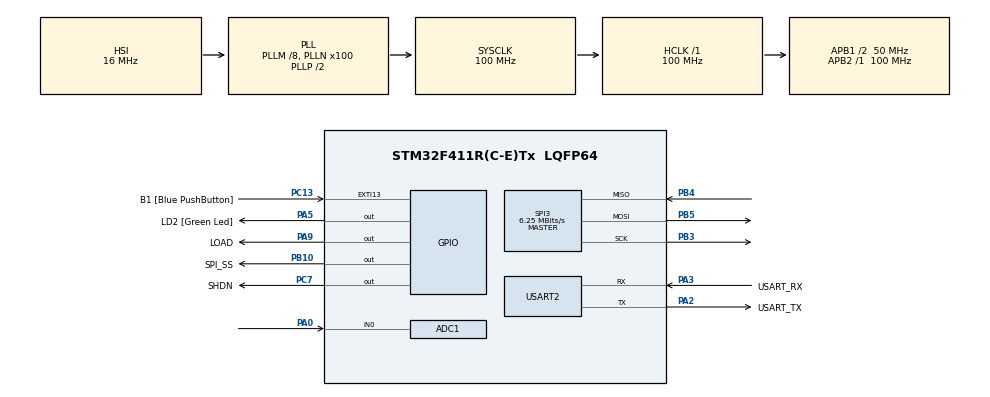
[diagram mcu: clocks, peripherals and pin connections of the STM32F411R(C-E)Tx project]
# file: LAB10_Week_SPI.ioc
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Mcu.Family=STM32F4
PB10.PinState=GPIO_PIN_SET
RCC.CortexFreq_Value=100000000
SPI3.Direction=SPI_DIRECTION_2LINES
SPI3.VirtualType=VM_MASTER
PA14.GPIO_Label=TCK
RCC.SYSCLKSource=RCC_SYSCLKSOURCE_PLLCLK
ProjectManager.StackSize=0x400
NVIC.ADC_IRQn=true\:0\:0\:false\:false\:true\:true\:true
PH0\ -\ OSC_IN.Signal=RCC_OSC_IN
RCC.HCLKFreq_Value=100000000
RCC.APB2TimFreq_Value=100000000
TIM3.Period=100
Dma.ADC1.0.Direction=DMA_PERIPH_TO_MEMORY
PC7.Signal=GPIO_Output
NVIC.DMA2_Stream0_IRQn=true\:0\:0\:false\:false\:true\:false\:true
Dma.ADC1.0.MemDataAlignment=DMA_MDATAALIGN_HALFWORD
RCC.AHBFreq_Value=100000000
SPI3.DataSize=SPI_DATASIZE_16BIT
ADC1.Channel-0\#ChannelRegularConversion=ADC_CHANNEL_0
RCC.HSE_VALUE=8000000
PB3.Mode=Full_Duplex_Master
ADC1.ScanConvMode=ENABLE
PC13-ANTI_TAMP.Signal=GPXTI13
PB4.Mode=Full_Duplex_Master
PC14-OSC32_IN.Mode=LSE-External-Oscillator
PA14.Mode=Serial_Wire
TIM3.Prescaler=99
Dma.ADC1.0.PeriphInc=DMA_PINC_DISABLE
PB5.Mode=Full_Duplex_Master
PC7.PinState=GPIO_PIN_SET
SH.ADCx_IN0.0=ADC1_IN0,IN0
ADC1.SamplingTime-0\#ChannelRegularConversion=ADC_SAMPLETIME_3CYCLES
RCC.FLatency-AdvancedSettings=FLASH_LATENCY_3
Mcu.Package=LQFP64
SPI3.Mode=SPI_MODE_MASTER
USART2.VirtualMode=VM_ASYNC
PA2.GPIO_Label=USART_TX
NVIC.SPI3_IRQn=true\:0\:0\:false\:false\:true\:true\:true
RCC.APB1TimFreq_Value=100000000
Dma.ADC1.0.FIFOMode=DMA_FIFOMODE_DISABLE
Dma.Request0=ADC1
VP_TIM3_VS_ClockSourceINT.Mode=Internal
PB4.Signal=SPI3_MISO
PA3.Signal=USART2_RX
PC15-OSC32_OUT.Mode=LSE-External-Oscillator
Dma.ADC1.0.Instance=DMA2_Stream0
ADC1.Rank-0\#ChannelRegularConversion=1
PC13-ANTI_TAMP.GPIO_Label=B1 [Blue PushButton]
PA9.GPIO_Label=LOAD
PH1\ -\ OSC_OUT.Mode=HSE-External-Clock-Source
TIM11.Prescaler=99
RCC.APB1CLKDivider=RCC_HCLK_DIV2
PC14-OSC32_IN.Signal=RCC_OSC32_IN
NVIC.USART2_IRQn=true\:0\:0\:false\:false\:true\:true\:true
PA0-WKUP.Signal=ADCx_IN0
VP_TIM11_VS_ClockSourceINT.Mode=Enable_Timer
PA13.Signal=SYS_JTMS-SWDIO
PA3.Mode=Asynchronous
Dma.ADC1.0.PeriphDataAlignment=DMA_PDATAALIGN_HALFWORD
PH0\ -\ OSC_IN.Mode=HSE-External-Clock-Source
ProjectManager.TargetToolchain=STM32CubeIDE
PB10.GPIO_Label=SPI_SS
Dma.ADC1.0.Mode=DMA_CIRCULAR
Dma.ADC1.0.Priority=DMA_PRIORITY_LOW
PA9.Signal=GPIO_Output
PA9.PinState=GPIO_PIN_SET
PC15-OSC32_OUT.Signal=RCC_OSC32_OUT
PB10.Signal=GPIO_Output
PA5.Signal=GPIO_Output
PH1\ -\ OSC_OUT.Signal=RCC_OSC_OUT
board=NUCLEO-F411RE
RCC.VCOOutputFreq_Value=200000000
RCC.APB2Freq_Value=100000000
SPI3.CalculateBaudRate=6.25 MBits/s
SPI3.BaudRatePrescaler=SPI_BAUDRATEPRESCALER_8
ADC1.DMAContinuousRequests=ENABLE
PA13.Mode=Serial_Wire
Mcu.Name=STM32F411R(C-E)Tx
PA2.Signal=USART2_TX
PA13.GPIO_Label=TMS
ADC1.ExternalTrigConv=ADC_EXTERNALTRIGCONV_T3_TRGO
PC7.GPIO_Label=SHDN
RCC.48MHZClocksFreq_Value=50000000
PB3.Signal=SPI3_SCK
RCC.SYSCLKFreq_VALUE=100000000
PB5.Signal=SPI3_MOSI
ADC1.master=1
PA5.GPIO_Label=LD2 [Green Led]
PC13-ANTI_TAMP.GPIO_ModeDefaultEXTI=GPIO_MODE_IT_FALLING
PA14.Signal=SYS_JTCK-SWCLK
Dma.ADC1.0.MemInc=DMA_MINC_ENABLE
ProjectManager.HeapSize=0x200
RCC.HSI_VALUE=16000000
NVIC.PriorityGroup=NVIC_PRIORITYGROUP_0
ADC1.NbrOfConversionFlag=1
RCC.PLLM=8
RCC.PLLN=100
PA2.Mode=Asynchronous
TIM3.TIM_MasterOutputTrigger=TIM_TRGO_UPDATE
RCC.APB1Freq_Value=50000000
PA3.GPIO_Label=USART_RX

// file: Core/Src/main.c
/* USER CODE BEGIN Header */
/**
  ******************************************************************************
  * @file           : main.c
  * @brief          : Main program body
  ******************************************************************************
  * @attention
  *
  * <h2><center>&copy; Copyright (c) 2021 STMicroelectronics.
  * All rights reserved.</center></h2>
  *
  * This software component is licensed by ST under BSD 3-Clause license,
  * the "License"; You may not use this file except in compliance with the
  * License. You may obtain a copy of the License at:
  *                        opensource.org/licenses/BSD-3-Clause
  *
  ******************************************************************************
  */
/* USER CODE END Header */
#include "main.h"

/* USER CODE BEGIN Includes */
#include <stdio.h> //printf
#include <string.h> //str lenght
#include <math.h>
/* USER CODE END Includes */

ADC_HandleTypeDef hadc1;
DMA_HandleTypeDef hdma_adc1;

SPI_HandleTypeDef hspi3;

TIM_HandleTypeDef htim3;
TIM_HandleTypeDef htim11;

UART_HandleTypeDef huart2;

/* USER CODE BEGIN PV */

uint16_t ADCin = 0;
uint64_t _micro = 0;

//12bits dac
uint16_t dataOut = 0;
//config 4 bit
uint8_t DACConfig = 0b0011;

//uart
char TxDataBuffer[32] = {0};

char RxDataBuffer[32] = {0};

int16_t inputchar2=0;

uint8_t waveform = 0;
float period   = 100.00;
float freq_saw  = 1.0;
float freq_sine = 1.0;
float freq_sqr  = 1.0;

float  Vmax   = 3.3;
float  Vmin   = 0.001;
float ADCmax_saw = 4096;
float ADCmin_saw = 0.001;

char slope_char[10] ="UP";
uint8_t slope = 1;

//sine wave
float degree = 0.001;
float Amplitude = 3.3;
float ref = 0.0001;
float ADCmax_sin = 4096;
float ADCmin_sin = 0.001;
float  Vmax_sine   = 3.3;
float  Vmin_sine   = 0.001;

//square wave
uint16_t ON_time = 0;
uint16_t Dutycycle = 1;
float ADCmax_sqr = 4096;
float ADCmin_sqr = 0.001;
float  Vmax_sqr = 3.3;
float  Vmin_sqr = 0.001;

uint64_t timestamp = 0;
////////////////////////////////

typedef enum
{
	Main_Menu_Print,
	Main_Menu_Select,
	Menu_1_Print,
	Menu_1_Select,
	Menu_2_Print,
	Menu_2_Select,
	Menu_3_Print,
	Menu_3_Select,

}State_machine;
/* USER CODE END PV */

void SystemClock_Config(void);
static void MX_GPIO_Init(void);
static void MX_DMA_Init(void);
static void MX_USART2_UART_Init(void);
static void MX_ADC1_Init(void);
static void MX_SPI3_Init(void);
static void MX_TIM3_Init(void);
static void MX_TIM11_Init(void);
/* USER CODE BEGIN PFP */
void MCP4922SetOutput(uint8_t Config, uint16_t DACOutput);
uint64_t micros();

//UART
int16_t UARTRecieveIT();

/* USER CODE END PFP */

int main(void)
{

  /* MCU Configuration--------------------------------------------------------*/

  /* Reset of all peripherals, Initializes the Flash interface and the Systick. */
  HAL_Init();

  /* Configure the system clock */
  SystemClock_Config();

  /* Initialize all configured peripherals */
  MX_GPIO_Init();
  MX_DMA_Init();
  MX_USART2_UART_Init();
  MX_ADC1_Init();
  MX_SPI3_Init();
  MX_TIM3_Init();
  MX_TIM11_Init();
  /* USER CODE BEGIN 2 */
  HAL_TIM_Base_Start(&htim3);
  HAL_TIM_Base_Start_IT(&htim11);

  HAL_ADC_Start_DMA(&hadc1, (uint32_t*) &ADCin, 1);
  //  HAL_ADC_Start_IT(&hadc1);

  HAL_GPIO_WritePin(LOAD_GPIO_Port, LOAD_Pin, GPIO_PIN_RESET);

  //UART
//  {
// 	  char temp[] = "HELLO WORLD\r\n please type something to test UART\r\n";
// 	  HAL_UART_Transmit_IT(&huart2,(uint8_t*) temp, strlen(temp));
//  }
  /* USER CODE END 2 */

  /* Infinite loop */
  while (1)
  {
		  //////////////////////////////////////////////////////////////////////////

		  HAL_UART_Receive_IT(&huart2, (uint8_t*)RxDataBuffer, 32);

		  int16_t inputchar = UARTRecieveIT();

		  static State_machine state = Main_Menu_Print;

		  switch(state)
		  {
			  case Main_Menu_Print:
				sprintf(TxDataBuffer, "\n--------------------------\n\r");
				HAL_UART_Transmit(&huart2, (uint8_t*)TxDataBuffer, strlen(TxDataBuffer), 100);

				sprintf(TxDataBuffer, "  Choose Waveform\n\r");
				HAL_UART_Transmit(&huart2, (uint8_t*)TxDataBuffer, strlen(TxDataBuffer), 100);

				sprintf(TxDataBuffer, "--------------------------\n\r");
				HAL_UART_Transmit(&huart2, (uint8_t*)TxDataBuffer, strlen(TxDataBuffer), 100);

				sprintf(TxDataBuffer, "[1] Sawtooth\n\r");
				HAL_UART_Transmit(&huart2, (uint8_t*)TxDataBuffer, strlen(TxDataBuffer), 100);

				sprintf(TxDataBuffer, "[2] Sine Wave\n\r");
				HAL_UART_Transmit(&huart2, (uint8_t*)TxDataBuffer, strlen(TxDataBuffer), 100);

				sprintf(TxDataBuffer, "[3] Square Wave\n\n\r");
				HAL_UART_Transmit(&huart2, (uint8_t*)TxDataBuffer, strlen(TxDataBuffer), 100);

				state = Main_Menu_Select;
				break;

			  case Main_Menu_Select:

				switch(inputchar)
				{
					case -1 :
						break;
					case '1':
						period = (1000000/(freq_saw * (ADCmax_saw - ADCmin_saw)));
						state = Menu_1_Print;
						break;
					case '2':
						Amplitude 	= (ADCmax_sin - ADCmin_sin)/2.0;
						ref  		= (ADCmax_sin + ADCmin_sin)/2.0;
						state = Menu_2_Print;
						break;
					case '3':
						state = Menu_3_Print;
						break;
					case 'x':
//						sprintf(TxDataBuffer, "No More Back\n\r");
//						HAL_UART_Transmit(&huart2, (uint8_t*)TxDataBuffer, strlen(TxDataBuffer), 100);
//						state = Main_Menu_Print;
						break;
					default:
						sprintf(TxDataBuffer, "\nOnly [1][2][3] Key Available\n\r");
						HAL_UART_Transmit(&huart2, (uint8_t*)TxDataBuffer, strlen(TxDataBuffer), 100);
						state = Main_Menu_Print;
						break;
				}
				break;

			case Menu_1_Print:

				sprintf(TxDataBuffer, "\n                   >>> Saw tooth <<<   \n\r");
				HAL_UART_Transmit(&huart2, (uint8_t*)TxDataBuffer, strlen(TxDataBuffer), 100);

				sprintf(TxDataBuffer, " ______________________________________________________________\n\r");
				HAL_UART_Transmit(&huart2, (uint8_t*)TxDataBuffer, strlen(TxDataBuffer), 100);

				sprintf(TxDataBuffer, " V_high    = %.1f  V  | Press[a]-> '+' | Press[d]-> '-' |\n\r", Vmax);
				HAL_UART_Transmit(&huart2, (uint8_t*)TxDataBuffer, strlen(TxDataBuffer), 100);

				sprintf(TxDataBuffer, " V_low     = %.1f  V  | Press[w]-> '+' | Press[s]-> '-' |\n\r", Vmin);
				HAL_UART_Transmit(&huart2, (uint8_t*)TxDataBuffer, strlen(TxDataBuffer), 100);

				sprintf(TxDataBuffer, " Frequency = %.1f Hz  | Press[q]-> '+' | Press[e]-> '-' |\n\r", freq_saw);
				HAL_UART_Transmit(&huart2, (uint8_t*)TxDataBuffer, strlen(TxDataBuffer), 100);

				sprintf(TxDataBuffer, " Slope     = %s      | Press[z]|    \n\r", slope_char);
				HAL_UART_Transmit(&huart2, (uint8_t*)TxDataBuffer, strlen(TxDataBuffer), 300);

				sprintf(TxDataBuffer, " Press -> [x] -> Back              \n\n\r");
				HAL_UART_Transmit(&huart2, (uint8_t*)TxDataBuffer, strlen(TxDataBuffer), 100);

				state = Menu_1_Select;
				break;

			case Menu_1_Select:
				switch(inputchar)
				{
					case -1 :  //not responding
						if(slope == 1)
						{
							if (micros() - timestamp >= period)
							{
									timestamp = micros();

									if(dataOut >= ADCmax_saw) //ADCmax_saw
									{
										dataOut = ADCmin_saw;
									}
									else
									{
										dataOut++;
									}
									if (hspi3.State == HAL_SPI_STATE_READY && HAL_GPIO_ReadPin(SPI_SS_GPIO_Port, SPI_SS_Pin) == GPIO_PIN_SET)
									{
										MCP4922SetOutput(DACConfig, dataOut);
									}
							}
						}
						else if(slope == 0)
						{
							if (micros() - timestamp >= period)
							{
									timestamp = micros();

									if(dataOut <= ADCmin_saw) //ADCmax_saw
									{
										dataOut = ADCmax_saw;
									}
									else
									{
										dataOut--;
									}
									if (hspi3.State == HAL_SPI_STATE_READY && HAL_GPIO_ReadPin(SPI_SS_GPIO_Port, SPI_SS_Pin) == GPIO_PIN_SET)
									{
										MCP4922SetOutput(DACConfig, dataOut);
									}
							}

						}

						break;
					case 'a' : //+Vmax

						Vmax += 0.1;
						if(Vmax > 3.3)
						{
							Vmax = 3.3;
							ADCmax_saw = 4096;
							state = Menu_1_Print;
							break;
						}
						ADCmax_saw += (4096*0.1/3.3);
						period = 1000000/(freq_saw*(ADCmax_saw - ADCmin_saw));

						state = Menu_1_Print;
						break;
					case 'd' : //-Vmax
						Vmax -= 0.1;
						if(Vmax-Vmin < 0.1)
						{
							Vmax  = Vmin + 0.1;
							ADCmax_saw = Vmax*4096/3.3;
							state = Menu_1_Print;
							break;
						}
						ADCmax_saw -= 124.12; //4096*0.1/3.3)
						period = (1000000/(freq_saw*(ADCmax_saw - ADCmin_saw)));
						state = Menu_1_Print;
						break;
					case 'w' : //+Vmin
						Vmin += 0.10;
						if(Vmax - Vmin < 0.1)
						{
							Vmin  = Vmax-0.1;
							ADCmin_saw = Vmin*4096/3.3;
							state = Menu_1_Print;
							break;
						}
						ADCmin_saw += 124.12;
						period = 1000000/(freq_saw*(ADCmax_saw - ADCmin_saw));
						state = Menu_1_Print;
						break;
					case 's' : //-Vmin
						Vmin -= 0.10;
						if(Vmin<0)
						{
							Vmin = 0.0001;
							ADCmin_saw = 0;
							state = Menu_1_Print;
							break;
						}
						ADCmin_saw -= 124.12;
						period = 1000000/(freq_saw*(ADCmax_saw - ADCmin_saw));
						state = Menu_1_Print;
						break;
					case 'q' : //+freq
						freq_saw += 0.1;
						if(freq_saw > 10)
						{
							freq_saw = 10;
						}
						period = 1000000/(freq_saw*(ADCmax_saw - ADCmin_saw));
						state = Menu_1_Print;
						break;
					case 'e' : //-freq
						freq_saw -= 0.1;
						if(freq_saw < 0)
						{
							freq_saw = 0;
						}
						period = 1000000/(freq_saw*(ADCmax_saw - ADCmin_saw));
						state = Menu_1_Print;
						break;
					case 'z' :
						if(slope == 1)
						{

							sprintf(slope_char, "DOWN");
							slope = !slope;
						}
						else
						{
							sprintf(slope_char, "UP");
							slope = !slope;
						}
						state =  Menu_1_Print;
						break;

					case 'x' :
						state = Main_Menu_Print;
						break;

					default:
						sprintf(TxDataBuffer, "\nTry again\n\r");
						HAL_UART_Transmit(&huart2, (uint8_t*)TxDataBuffer, strlen(TxDataBuffer), 100);
						state = Menu_1_Print;
						break;
				}
				break;

			///////////////////////////////////////////////////////////////////////////////////////////////////////////////////
			case Menu_2_Print:

				sprintf(TxDataBuffer, "\n             >>> Sine wave <<<        \n\r");
				HAL_UART_Transmit(&huart2, (uint8_t*)TxDataBuffer, strlen(TxDataBuffer), 50);

				sprintf(TxDataBuffer, " ______________________________________________________________\n\r");
				HAL_UART_Transmit(&huart2, (uint8_t*)TxDataBuffer, strlen(TxDataBuffer), 50);

				sprintf(TxDataBuffer, " V_high    = %.1f  V  | Press[a]-> '+' | Press[d]-> '-' |\n\r", Vmax_sine);
				HAL_UART_Transmit(&huart2, (uint8_t*)TxDataBuffer, strlen(TxDataBuffer), 50);

				sprintf(TxDataBuffer, " V_low     = %.1f  V  | Press[w]-> '+' | Press[s]-> '-' |\n\r", Vmin_sine);
				HAL_UART_Transmit(&huart2, (uint8_t*)TxDataBuffer, strlen(TxDataBuffer), 50);

				sprintf(TxDataBuffer, " Frequency = %.1f Hz  | Press[q]-> '+' | Press[e]-> '-' |\n\r", freq_sine);
				HAL_UART_Transmit(&huart2, (uint8_t*)TxDataBuffer, strlen(TxDataBuffer), 50);

				sprintf(TxDataBuffer, " Press -> [x] -> Back              \n\n\r");
				HAL_UART_Transmit(&huart2, (uint8_t*)TxDataBuffer, strlen(TxDataBuffer), 50);

				state = Menu_2_Select;
				break;
			case Menu_2_Select :
				switch(inputchar)
				{
					case -1 :

						Amplitude 	= (ADCmax_sin - ADCmin_sin)/2.0;
						ref  		= (ADCmax_sin + ADCmin_sin)/2.0;
						period 		= ( 1000000 / (freq_sine));
						if (micros() - timestamp >=  (1000000) / (freq_sine*(6.28/0.01)) )
				        {
								timestamp = micros();

								if(degree >= 2*3.14)  //2*3.14 = 2pi
								{
									degree = 0;
								}
								else
								{
									degree += 0.01;
								}
			     				dataOut = ( sin(degree)*Amplitude ) + ref;

								if (hspi3.State == HAL_SPI_STATE_READY && HAL_GPIO_ReadPin(SPI_SS_GPIO_Port, SPI_SS_Pin) == GPIO_PIN_SET)
								{
									MCP4922SetOutput(DACConfig, dataOut);
								}
				        }
						break;
					case 'a' :
						Vmax_sine += 0.1;
						if(Vmax_sine > 3.3)
						{
							Vmax_sine = 3.3;
							ADCmax_sin = 4096;
							state = Menu_2_Print;
							break;
						}
						ADCmax_sin += (4096*0.1/3.3);
						state = Menu_2_Print;
						break;

					case 'd' : //-Vmax
						Vmax_sine -= 0.1;
						if(Vmax_sine - Vmin_sine < 0.1)
						{
							Vmax_sine  = Vmin_sine + 0.1;
							ADCmax_sin = Vmax_sine*4096/3.3;
							state = Menu_2_Print;
							break;
						}
						ADCmax_sin -= 124.12; //4096*0.1/3.3)
						state = Menu_2_Print;
						break;
					case 'w' : //+Vmin
						Vmin_sine += 0.10;
						if(Vmax_sine - Vmin_sine < 0.1)
						{
							Vmin_sine  = Vmax_sine-0.1;
							ADCmin_sin = Vmin_sine*4096/3.3;
							state = Menu_2_Print;
							break;
						}
						ADCmin_sin += 124.12;
						state = Menu_2_Print;
						break;
					case 's' : //-Vmin
						Vmin_sine -= 0.10;
						if(Vmin_sine<0)
						{
							Vmin_sine = 0.0001;
							ADCmin_sin = 0;
							state = Menu_2_Print;
							break;
						}
						ADCmin_sin -= 124.12;
						state = Menu_2_Print;
						break;
					case 'q' : //+freq
						freq_sine += 0.1;
						if(freq_sine > 10)
						{
							freq_sine = 10;
						}
						state = Menu_2_Print;
						break;
					case 'e' : //-freq
						freq_sine -= 0.1;
						if(freq_sine < 0)
						{
							freq_sine = 0;
						}
						state = Menu_2_Print;
						break;
					case 'x' :
						state = Main_Menu_Print;
						break;
					default:
						sprintf(TxDataBuffer, "\nTry again\n\r");
						HAL_UART_Transmit(&huart2, (uint8_t*)TxDataBuffer, strlen(TxDataBuffer), 100);
						state = Menu_2_Print;
						break;
				}
				break;

			//////////////////////////////////////////////////////////////////////////////////////////////////

				case Menu_3_Print:

					sprintf(TxDataBuffer, "\n             >>> Square wave <<<        \n\r");
					HAL_UART_Transmit(&huart2, (uint8_t*)TxDataBuffer, strlen(TxDataBuffer), 50);

					sprintf(TxDataBuffer, " ______________________________________________________________\n\r");
					HAL_UART_Transmit(&huart2, (uint8_t*)TxDataBuffer, strlen(TxDataBuffer), 50);

					sprintf(TxDataBuffer, " V_high    = %.1f  V  | Press[a]-> '+' | Press[d]-> '-' |\n\r", Vmax_sqr);
					HAL_UART_Transmit(&huart2, (uint8_t*)TxDataBuffer, strlen(TxDataBuffer), 50);

					sprintf(TxDataBuffer, " V_low     = %.1f  V  | Press[w]-> '+' | Press[s]-> '-' |\n\r", Vmin_sqr);
					HAL_UART_Transmit(&huart2, (uint8_t*)TxDataBuffer, strlen(TxDataBuffer), 50);

					sprintf(TxDataBuffer, " Frequency = %.1f Hz  | Press[q]-> '+' | Press[e]-> '-' |\n\r", freq_sqr);
					HAL_UART_Transmit(&huart2, (uint8_t*)TxDataBuffer, strlen(TxDataBuffer), 50);

					sprintf(TxDataBuffer, " Dutycycle = %d /100% | Press[z]-> '+' | Press[c]-> '-' |\n\r",Dutycycle);
					HAL_UART_Transmit(&huart2, (uint8_t*)TxDataBuffer, strlen(TxDataBuffer), 50);

					sprintf(TxDataBuffer, " Press -> [x] -> Back              \n\n\r");
					HAL_UART_Transmit(&huart2, (uint8_t*)TxDataBuffer, strlen(TxDataBuffer), 50);

					state = Menu_3_Select;
					break;
				case Menu_3_Select :
					switch(inputchar)
					{
						case -1 :
							period = 1000000 / freq_sqr;
							if (micros() - timestamp > 1000000 / (freq_sqr*100))
							{
								timestamp = micros();
								if(ON_time >= 100)
								{
									ON_time = 0;
								}
								else
								{
									ON_time++;
								}

								if(ON_time <= Dutycycle)
								{
									dataOut = ADCmax_sqr*0.9999;
								}
								else
								{
									dataOut = ADCmin_sqr*1;
								}

								if (hspi3.State == HAL_SPI_STATE_READY && HAL_GPIO_ReadPin(SPI_SS_GPIO_Port, SPI_SS_Pin) == GPIO_PIN_SET)
								{
									MCP4922SetOutput(DACConfig, dataOut);
								}
							}
							break;
						case 'a' :
							Vmax_sqr += 0.1;
							if(Vmax_sqr > 3.3)
							{
								Vmax_sqr = 3.3;
								ADCmax_sqr = 4096;
								state = Menu_3_Print;
								break;
							}
							ADCmax_sqr += (4096*0.1/3.3);
							state = Menu_3_Print;
							break;

						case 'd' : //-Vmax
							Vmax_sqr -= 0.1;
							if(Vmax_sqr - Vmin_sqr < 0.1)
							{
								Vmax_sqr  = Vmin_sqr + 0.1;
								ADCmax_sqr = Vmax_sqr*4096/3.3;
								state = Menu_3_Print;
								break;
							}
							ADCmax_sqr -= 124.12; //4096*0.1/3.3)
							state = Menu_3_Print;
							break;
						case 'w' : //+Vmin
							Vmin_sqr += 0.10;
							if(Vmax_sqr - Vmin_sqr < 0.1)
							{
								Vmin_sqr  = Vmax_sqr-0.1;
								ADCmin_sqr = Vmin_sqr*4096/3.3;
								state = Menu_3_Print;
								break;
							}
							ADCmin_sqr += 124.12;
							state = Menu_3_Print;
							break;
						case 's' : //-Vmin
							Vmin_sqr -= 0.10;
							if(Vmin_sqr<0)
							{
								Vmin_sqr = 0.0001;
								ADCmin_sqr = 0;
								state = Menu_3_Print;
								break;
							}
							ADCmin_sqr -= 124.12;
							state = Menu_3_Print;
							break;
						case 'q' : //+freq
							freq_sqr += 0.1;
							if(freq_sqr > 10)
							{
								freq_sqr = 10;
							}
							state = Menu_3_Print;
							break;
						case 'e' : //-freq
							freq_sine -= 0.1;
							if(freq_sqr < 0)
							{
								freq_sqr = 0;
							}
							state = Menu_3_Print;
							break;
						case 'z' :
							Dutycycle++;
							if(Dutycycle > 99)
							{
								Dutycycle = 99;
							}
							state = Menu_3_Print;
							break;
						case 'c' :
							Dutycycle--;
							if(Dutycycle < 1)
							{
								Dutycycle = 1;
							}
							state = Menu_3_Print;
							break;
						case 'x' :
							state = Main_Menu_Print;
							break;
						default:
							sprintf(TxDataBuffer, "\nTry again\n\r");
							HAL_UART_Transmit(&huart2, (uint8_t*)TxDataBuffer, strlen(TxDataBuffer), 100);
							state = Menu_3_Print;
							break;
					}
			///////////////////////////
			default:
				break;

		  }
		  ////////////////////////////////////////////////////////////////////////////////////////////////////////////////////////

		  ///////////////////////////////////////////////////////////////////////////////////////////////////////////////////////
    /* USER CODE BEGIN 3 */

//
//	  if(inputchar!=-1)
//	  {
//		sprintf(TxDataBuffer, "ReceivedChar:[%c]\r\n", inputchar);
//		HAL_UART_Transmit(&huart2, (uint8_t*)TxDataBuffer, strlen(TxDataBuffer),50);
//	  }
//
//	  if(inputchar == 'a')
//	  {
//		  char temp[] = "Uuuuuuuuuu\r\n";
//		  HAL_UART_Transmit_IT(&huart2,(uint8_t*) temp, strlen(temp));
//	  }

//
//
//	  static uint64_t timestamp = 0;
//
//	  if (micros() - timestamp >= 1000)
//	  {
//			timestamp = micros();
////          saw tooth
//			dataOut = dataOut + 1;
//			dataOut %= 4096;
//
//			if (hspi3.State == HAL_SPI_STATE_READY && HAL_GPIO_ReadPin(SPI_SS_GPIO_Port, SPI_SS_Pin) == GPIO_PIN_SET)
//			{
//				MCP4922SetOutput(DACConfig, dataOut);
//			}
//	  }

  }
  /* USER CODE END 3 */
}

void SystemClock_Config(void)
{
  RCC_OscInitTypeDef RCC_OscInitStruct = {0};
  RCC_ClkInitTypeDef RCC_ClkInitStruct = {0};

  /** Configure the main internal regulator output voltage
  */
  __HAL_RCC_PWR_CLK_ENABLE();
  __HAL_PWR_VOLTAGESCALING_CONFIG(PWR_REGULATOR_VOLTAGE_SCALE1);
  /** Initializes the RCC Oscillators according to the specified parameters
  * in the RCC_OscInitTypeDef structure.
  */
  RCC_OscInitStruct.OscillatorType = RCC_OSCILLATORTYPE_HSI;
  RCC_OscInitStruct.HSIState = RCC_HSI_ON;
  RCC_OscInitStruct.HSICalibrationValue = RCC_HSICALIBRATION_DEFAULT;
  RCC_OscInitStruct.PLL.PLLState = RCC_PLL_ON;
  RCC_OscInitStruct.PLL.PLLSource = RCC_PLLSOURCE_HSI;
  RCC_OscInitStruct.PLL.PLLM = 8;
  RCC_OscInitStruct.PLL.PLLN = 100;
  RCC_OscInitStruct.PLL.PLLP = RCC_PLLP_DIV2;
  RCC_OscInitStruct.PLL.PLLQ = 4;
  if (HAL_RCC_OscConfig(&RCC_OscInitStruct) != HAL_OK)
  {
    Error_Handler();
  }
  /** Initializes the CPU, AHB and APB buses clocks
  */
  RCC_ClkInitStruct.ClockType = RCC_CLOCKTYPE_HCLK|RCC_CLOCKTYPE_SYSCLK
                              |RCC_CLOCKTYPE_PCLK1|RCC_CLOCKTYPE_PCLK2;
  RCC_ClkInitStruct.SYSCLKSource = RCC_SYSCLKSOURCE_PLLCLK;
  RCC_ClkInitStruct.AHBCLKDivider = RCC_SYSCLK_DIV1;
  RCC_ClkInitStruct.APB1CLKDivider = RCC_HCLK_DIV2;
  RCC_ClkInitStruct.APB2CLKDivider = RCC_HCLK_DIV1;

  if (HAL_RCC_ClockConfig(&RCC_ClkInitStruct, FLASH_LATENCY_3) != HAL_OK)
  {
    Error_Handler();
  }
}

static void MX_ADC1_Init(void)
{

  ADC_ChannelConfTypeDef sConfig = {0};

  /** Configure the global features of the ADC (Clock, Resolution, Data Alignment and number of conversion)
  */
  hadc1.Instance = ADC1;
  hadc1.Init.ClockPrescaler = ADC_CLOCK_SYNC_PCLK_DIV4;
  hadc1.Init.Resolution = ADC_RESOLUTION_12B;
  hadc1.Init.ScanConvMode = ENABLE;
  hadc1.Init.ContinuousConvMode = DISABLE;
  hadc1.Init.DiscontinuousConvMode = DISABLE;
  hadc1.Init.ExternalTrigConvEdge = ADC_EXTERNALTRIGCONVEDGE_RISING;
  hadc1.Init.ExternalTrigConv = ADC_EXTERNALTRIGCONV_T3_TRGO;
  hadc1.Init.DataAlign = ADC_DATAALIGN_RIGHT;
  hadc1.Init.NbrOfConversion = 1;
  hadc1.Init.DMAContinuousRequests = ENABLE;
  hadc1.Init.EOCSelection = ADC_EOC_SINGLE_CONV;
  if (HAL_ADC_Init(&hadc1) != HAL_OK)
  {
    Error_Handler();
  }
  /** Configure for the selected ADC regular channel its corresponding rank in the sequencer and its sample time.
  */
  sConfig.Channel = ADC_CHANNEL_0;
  sConfig.Rank = 1;
  sConfig.SamplingTime = ADC_SAMPLETIME_3CYCLES;
  if (HAL_ADC_ConfigChannel(&hadc1, &sConfig) != HAL_OK)
  {
    Error_Handler();
  }

}

static void MX_SPI3_Init(void)
{

  /* SPI3 parameter configuration*/
  hspi3.Instance = SPI3;
  hspi3.Init.Mode = SPI_MODE_MASTER;
  hspi3.Init.Direction = SPI_DIRECTION_2LINES;
  hspi3.Init.DataSize = SPI_DATASIZE_16BIT;
  hspi3.Init.CLKPolarity = SPI_POLARITY_LOW;
  hspi3.Init.CLKPhase = SPI_PHASE_1EDGE;
  hspi3.Init.NSS = SPI_NSS_SOFT;
  hspi3.Init.BaudRatePrescaler = SPI_BAUDRATEPRESCALER_8;
  hspi3.Init.FirstBit = SPI_FIRSTBIT_MSB;
  hspi3.Init.TIMode = SPI_TIMODE_DISABLE;
  hspi3.Init.CRCCalculation = SPI_CRCCALCULATION_DISABLE;
  hspi3.Init.CRCPolynomial = 10;
  if (HAL_SPI_Init(&hspi3) != HAL_OK)
  {
    Error_Handler();
  }

}

static void MX_TIM3_Init(void)
{

  TIM_ClockConfigTypeDef sClockSourceConfig = {0};
  TIM_MasterConfigTypeDef sMasterConfig = {0};

  htim3.Instance = TIM3;
  htim3.Init.Prescaler = 99;
  htim3.Init.CounterMode = TIM_COUNTERMODE_UP;
  htim3.Init.Period = 100;
  htim3.Init.ClockDivision = TIM_CLOCKDIVISION_DIV1;
  htim3.Init.AutoReloadPreload = TIM_AUTORELOAD_PRELOAD_DISABLE;
  if (HAL_TIM_Base_Init(&htim3) != HAL_OK)
  {
    Error_Handler();
  }
  sClockSourceConfig.ClockSource = TIM_CLOCKSOURCE_INTERNAL;
  if (HAL_TIM_ConfigClockSource(&htim3, &sClockSourceConfig) != HAL_OK)
  {
    Error_Handler();
  }
  sMasterConfig.MasterOutputTrigger = TIM_TRGO_UPDATE;
  sMasterConfig.MasterSlaveMode = TIM_MASTERSLAVEMODE_DISABLE;
  if (HAL_TIMEx_MasterConfigSynchronization(&htim3, &sMasterConfig) != HAL_OK)
  {
    Error_Handler();
  }

}

static void MX_TIM11_Init(void)
{

  htim11.Instance = TIM11;
  htim11.Init.Prescaler = 99;
  htim11.Init.CounterMode = TIM_COUNTERMODE_UP;
  htim11.Init.Period = 65535;
  htim11.Init.ClockDivision = TIM_CLOCKDIVISION_DIV1;
  htim11.Init.AutoReloadPreload = TIM_AUTORELOAD_PRELOAD_DISABLE;
  if (HAL_TIM_Base_Init(&htim11) != HAL_OK)
  {
    Error_Handler();
  }

}

static void MX_USART2_UART_Init(void)
{

  huart2.Instance = USART2;
  huart2.Init.BaudRate = 115200;
  huart2.Init.WordLength = UART_WORDLENGTH_8B;
  huart2.Init.StopBits = UART_STOPBITS_1;
  huart2.Init.Parity = UART_PARITY_NONE;
  huart2.Init.Mode = UART_MODE_TX_RX;
  huart2.Init.HwFlowCtl = UART_HWCONTROL_NONE;
  huart2.Init.OverSampling = UART_OVERSAMPLING_16;
  if (HAL_UART_Init(&huart2) != HAL_OK)
  {
    Error_Handler();
  }

}

static void MX_DMA_Init(void)
{

  /* DMA controller clock enable */
  __HAL_RCC_DMA2_CLK_ENABLE();

  /* DMA interrupt init */
  /* DMA2_Stream0_IRQn interrupt configuration */
  HAL_NVIC_SetPriority(DMA2_Stream0_IRQn, 0, 0);
  HAL_NVIC_EnableIRQ(DMA2_Stream0_IRQn);

}

static void MX_GPIO_Init(void)
{
  GPIO_InitTypeDef GPIO_InitStruct = {0};

  /* GPIO Ports Clock Enable */
  __HAL_RCC_GPIOC_CLK_ENABLE();
  __HAL_RCC_GPIOH_CLK_ENABLE();
  __HAL_RCC_GPIOA_CLK_ENABLE();
  __HAL_RCC_GPIOB_CLK_ENABLE();

  /*Configure GPIO pin Output Level */
  HAL_GPIO_WritePin(LD2_GPIO_Port, LD2_Pin, GPIO_PIN_RESET);

  /*Configure GPIO pin Output Level */
  HAL_GPIO_WritePin(SPI_SS_GPIO_Port, SPI_SS_Pin, GPIO_PIN_SET);

  /*Configure GPIO pin Output Level */
  HAL_GPIO_WritePin(SHDN_GPIO_Port, SHDN_Pin, GPIO_PIN_SET);

  /*Configure GPIO pin Output Level */
  HAL_GPIO_WritePin(LOAD_GPIO_Port, LOAD_Pin, GPIO_PIN_SET);

  /*Configure GPIO pin : B1_Pin */
  GPIO_InitStruct.Pin = B1_Pin;
  GPIO_InitStruct.Mode = GPIO_MODE_IT_FALLING;
  GPIO_InitStruct.Pull = GPIO_NOPULL;
  HAL_GPIO_Init(B1_GPIO_Port, &GPIO_InitStruct);

  /*Configure GPIO pins : LD2_Pin LOAD_Pin */
  GPIO_InitStruct.Pin = LD2_Pin|LOAD_Pin;
  GPIO_InitStruct.Mode = GPIO_MODE_OUTPUT_PP;
  GPIO_InitStruct.Pull = GPIO_NOPULL;
  GPIO_InitStruct.Speed = GPIO_SPEED_FREQ_LOW;
  HAL_GPIO_Init(GPIOA, &GPIO_InitStruct);

  /*Configure GPIO pin : SPI_SS_Pin */
  GPIO_InitStruct.Pin = SPI_SS_Pin;
  GPIO_InitStruct.Mode = GPIO_MODE_OUTPUT_PP;
  GPIO_InitStruct.Pull = GPIO_NOPULL;
  GPIO_InitStruct.Speed = GPIO_SPEED_FREQ_LOW;
  HAL_GPIO_Init(SPI_SS_GPIO_Port, &GPIO_InitStruct);

  /*Configure GPIO pin : SHDN_Pin */
  GPIO_InitStruct.Pin = SHDN_Pin;
  GPIO_InitStruct.Mode = GPIO_MODE_OUTPUT_PP;
  GPIO_InitStruct.Pull = GPIO_NOPULL;
  GPIO_InitStruct.Speed = GPIO_SPEED_FREQ_LOW;
  HAL_GPIO_Init(SHDN_GPIO_Port, &GPIO_InitStruct);

}

/* USER CODE BEGIN 4 */
inline uint64_t micros()
{
	return htim11.Instance->CNT + _micro;
}
void HAL_TIM_PeriodElapsedCallback(TIM_HandleTypeDef *htim)
{
	if(htim == &htim11)
	{
		_micro += 65535;
	}
}

////////////////////////////////////

void MCP4922SetOutput(uint8_t Config, uint16_t DACOutput)
{
	uint32_t OutputPacket = (DACOutput & 0x0fff) | ((Config & 0xf) << 12);
	HAL_GPIO_WritePin(SPI_SS_GPIO_Port, SPI_SS_Pin, GPIO_PIN_RESET);
	HAL_SPI_Transmit_IT(&hspi3, &OutputPacket, 1);
}

void HAL_SPI_TxCpltCallback(SPI_HandleTypeDef *hspi)
{
	if (hspi == &hspi3)
	{
		HAL_GPIO_WritePin(SPI_SS_GPIO_Port, SPI_SS_Pin, GPIO_PIN_SET);
	}
}

//////////////////////////////////

int16_t UARTRecieveIT()
{
	static uint32_t dataPos =0;
	int16_t data=-1;
	if(huart2.RxXferSize - huart2.RxXferCount!=dataPos)
	{
		data=RxDataBuffer[dataPos];
		dataPos= (dataPos+1)%huart2.RxXferSize;
	}
	return data;
}
/* USER CODE END 4 */

void Error_Handler(void)
{
  __disable_irq();
  while (1)
  {
  }
}

/************************ (C) COPYRIGHT STMicroelectronics *****END OF FILE****/
